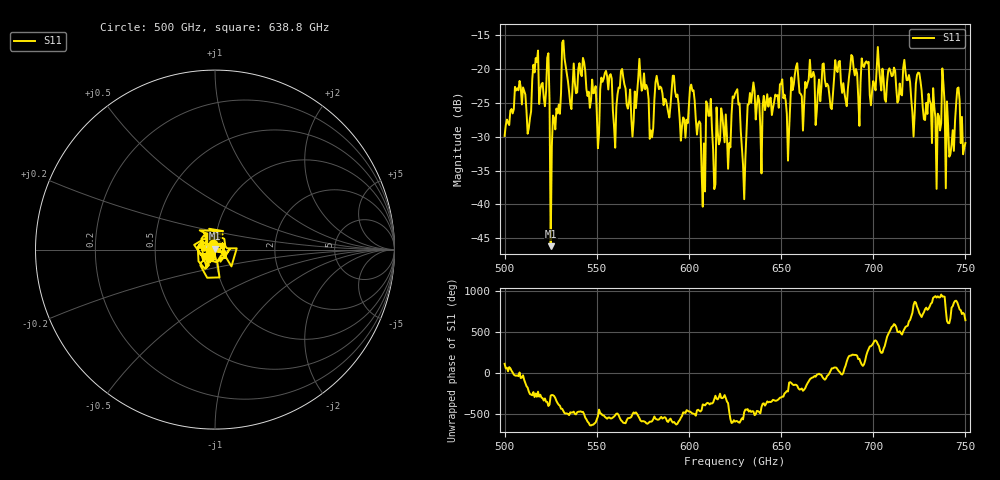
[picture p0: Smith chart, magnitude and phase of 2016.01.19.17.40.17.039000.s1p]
!Created with skrf (http://scikit-rf.org).
# GHz S RI R 50.0
!freq ReS11 ImS11
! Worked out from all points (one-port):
!   401 points, 500 GHz to 750 GHz, reference 50 ohm
!   lowest |S11| = -46.2 dB at 525 GHz (marker M1), VSWR 1.01, Z = 50.1 + j0.486 ohm
!   |S11| at or under -10 dB: start of sweep to end of sweep
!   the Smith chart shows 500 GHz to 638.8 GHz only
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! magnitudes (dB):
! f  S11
! 500 GHz  -29.9
! 506.9 GHz  -22.8
! 513.1 GHz  -28.7
! 516.9 GHz  -18.4
! 523.1 GHz  -18.3
! 525 GHz  -46.2
! 531.2 GHz  -16.1
! 550 GHz  -26.4
! 562.5 GHz  -22.8
! 570 GHz  -27.7
! 574.4 GHz  -23.2
! 579.4 GHz  -29.1
! 583.1 GHz  -22.1
! 593.8 GHz  -23.8
! 601.9 GHz  -23.2
! 607.5 GHz  -40.3
! 610.6 GHz  -26.9
! 614.4 GHz  -37.0
! 625 GHz  -23.6
! 630 GHz  -39.2
! 634.4 GHz  -23.5
! 653.8 GHz  -33.5
! 656.2 GHz  -23.1
! 687.5 GHz  -19.8
! 718.8 GHz  -21.6
! 742.5 GHz  -31.2
! 745.6 GHz  -22.9
! 750 GHz  -30.9
